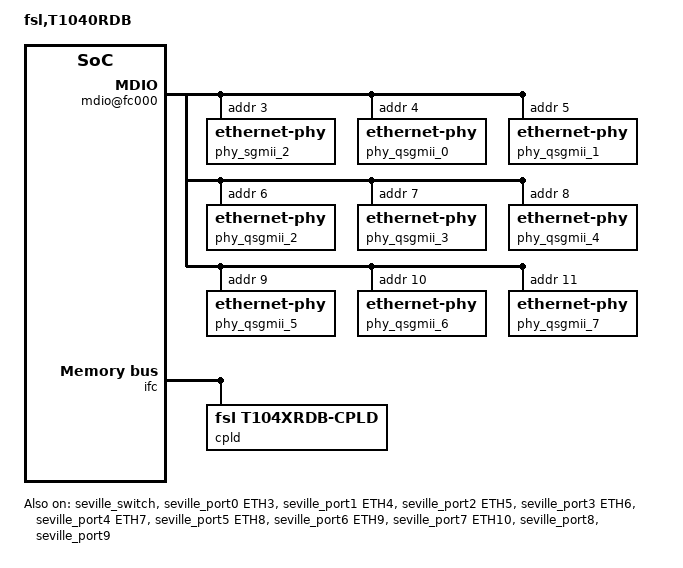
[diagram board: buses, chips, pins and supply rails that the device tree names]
/*
 * T1040RDB Device Tree Source
 *
 * Copyright 2014 - 2015 Freescale Semiconductor Inc.
 *
 * Redistribution and use in source and binary forms, with or without
 * modification, are permitted provided that the following conditions are met:
 *     * Redistributions of source code must retain the above copyright
 *	 notice, this list of conditions and the following disclaimer.
 *     * Redistributions in binary form must reproduce the above copyright
 *	 notice, this list of conditions and the following disclaimer in the
 *	 documentation and/or other materials provided with the distribution.
 *     * Neither the name of Freescale Semiconductor nor the
 *	 names of its contributors may be used to endorse or promote products
 *	 derived from this software without specific prior written permission.
 *
 *
 * ALTERNATIVELY, this software may be distributed under the terms of the
 * GNU General Public License ("GPL") as published by the Free Software
 * Foundation, either version 2 of that License or (at your option) any
 * later version.
 *
 * THIS SOFTWARE IS PROVIDED BY Freescale Semiconductor "AS IS" AND ANY
 * EXPRESS OR IMPLIED WARRANTIES, INCLUDING, BUT NOT LIMITED TO, THE IMPLIED
 * WARRANTIES OF MERCHANTABILITY AND FITNESS FOR A PARTICULAR PURPOSE ARE
 * DISCLAIMED. IN NO EVENT SHALL Freescale Semiconductor BE LIABLE FOR ANY
 * DIRECT, INDIRECT, INCIDENTAL, SPECIAL, EXEMPLARY, OR CONSEQUENTIAL DAMAGES
 * (INCLUDING, BUT NOT LIMITED TO, PROCUREMENT OF SUBSTITUTE GOODS OR SERVICES;
 * LOSS OF USE, DATA, OR PROFITS; OR BUSINESS INTERRUPTION) HOWEVER CAUSED AND
 * ON ANY THEORY OF LIABILITY, WHETHER IN CONTRACT, STRICT LIABILITY, OR TORT
 * (INCLUDING NEGLIGENCE OR OTHERWISE) ARISING IN ANY WAY OUT OF THE USE OF THIS
 * SOFTWARE, EVEN IF ADVISED OF THE POSSIBILITY OF SUCH DAMAGE.
 */

/include/ "t104xsi-pre.dtsi"
/include/ "t104xrdb.dtsi"

/ {
	model = "fsl,T1040RDB";
	compatible = "fsl,T1040RDB";

	aliases {
		phy_sgmii_2 = &phy_sgmii_2;
	};

	soc@ffe000000 {
		fman@400000 {
			ethernet@e0000 {
				fixed-link = <0 1 1000 0 0>;
				phy-connection-type = "sgmii";
			};

			ethernet@e2000 {
				fixed-link = <1 1 1000 0 0>;
				phy-connection-type = "sgmii";
			};

			ethernet@e4000 {
				phy-handle = <&phy_sgmii_2>;
				phy-connection-type = "sgmii";
			};

			mdio@fc000 {
				phy_sgmii_2: ethernet-phy@3 {
					reg = <0x03>;
				};

				/* VSC8514 QSGMII PHY */
				phy_qsgmii_0: ethernet-phy@4 {
					reg = <0x4>;
				};

				phy_qsgmii_1: ethernet-phy@5 {
					reg = <0x5>;
				};

				phy_qsgmii_2: ethernet-phy@6 {
					reg = <0x6>;
				};

				phy_qsgmii_3: ethernet-phy@7 {
					reg = <0x7>;
				};

				/* VSC8514 QSGMII PHY */
				phy_qsgmii_4: ethernet-phy@8 {
					reg = <0x8>;
				};

				phy_qsgmii_5: ethernet-phy@9 {
					reg = <0x9>;
				};

				phy_qsgmii_6: ethernet-phy@a {
					reg = <0xa>;
				};

				phy_qsgmii_7: ethernet-phy@b {
					reg = <0xb>;
				};
			};
		};
	};

	ifc: localbus@ffe124000 {
		cpld@3,0 {
			compatible = "fsl,t104xrdb-cpld", "fsl,deepsleep-cpld";
		};
	};
};

#include "t1040si-post.dtsi"

&seville_switch {
	status = "okay";
};

&seville_port0 {
	managed = "in-band-status";
	phy-handle = <&phy_qsgmii_0>;
	phy-mode = "qsgmii";
	label = "ETH3";
	status = "okay";
};

&seville_port1 {
	managed = "in-band-status";
	phy-handle = <&phy_qsgmii_1>;
	phy-mode = "qsgmii";
	label = "ETH4";
	status = "okay";
};

&seville_port2 {
	managed = "in-band-status";
	phy-handle = <&phy_qsgmii_2>;
	phy-mode = "qsgmii";
	label = "ETH5";
	status = "okay";
};

&seville_port3 {
	managed = "in-band-status";
	phy-handle = <&phy_qsgmii_3>;
	phy-mode = "qsgmii";
	label = "ETH6";
	status = "okay";
};

&seville_port4 {
	managed = "in-band-status";
	phy-handle = <&phy_qsgmii_4>;
	phy-mode = "qsgmii";
	label = "ETH7";
	status = "okay";
};

&seville_port5 {
	managed = "in-band-status";
	phy-handle = <&phy_qsgmii_5>;
	phy-mode = "qsgmii";
	label = "ETH8";
	status = "okay";
};

&seville_port6 {
	managed = "in-band-status";
	phy-handle = <&phy_qsgmii_6>;
	phy-mode = "qsgmii";
	label = "ETH9";
	status = "okay";
};

&seville_port7 {
	managed = "in-band-status";
	phy-handle = <&phy_qsgmii_7>;
	phy-mode = "qsgmii";
	label = "ETH10";
	status = "okay";
};

&seville_port8 {
	status = "okay";
};

&seville_port9 {
	status = "okay";
};
